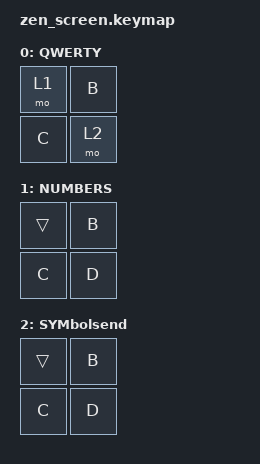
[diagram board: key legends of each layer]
#include <behaviors.dtsi>
#include <dt-bindings/zmk/keys.h>
#include <dt-bindings/zmk/kscan_mock.h>

/ {
    keymap {
        compatible = "zmk,keymap";

        default_layer {
            label = "QWERTY";
            bindings = <
                &mo 1 &kp B
                &kp C &mo 2
            >;
        };
        alt_layer {
            label = "NUMBERS";
            bindings = <
                &trans &kp B
                &kp C &kp D
            >;
        };
        alt2_layer {
            label = "SYMbolsend";
            bindings = <
                &trans &kp B
                &kp C &kp D
            >;
        };
    };
};


&kscan {
    // for automated inputs, uncomment if not using shell
    events = <
           ZMK_MOCK_PRESS(0,0,1000)  // change layers for 5s
           ZMK_MOCK_RELEASE(0,0,1000)
           ZMK_MOCK_PRESS(1,1,1000)  // send D for 1s
           ZMK_MOCK_RELEASE(1,1,5000)
    >;

	// for interactive shell use
    ///delete-property/ exit-after;
};

&sdl_dc {
    height = <128>;  // Zen EPD dimensions
    width = <80>;
    // height = <68>;  // nice!view dimensions
    // width = <160>;
};
